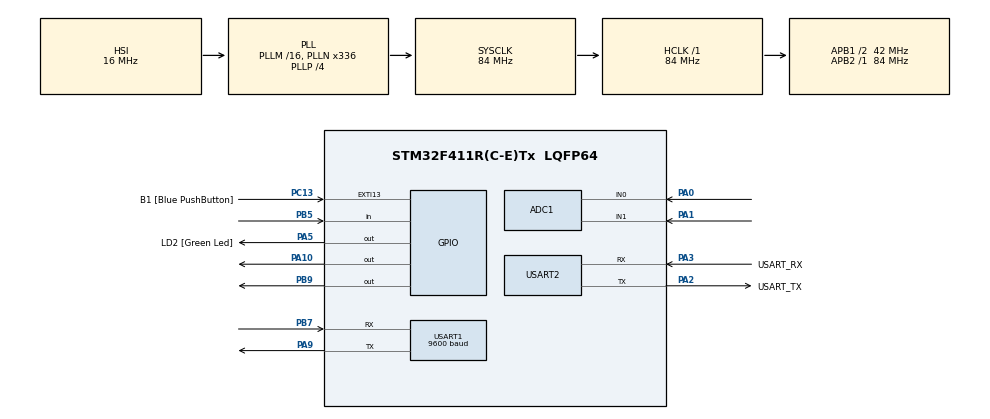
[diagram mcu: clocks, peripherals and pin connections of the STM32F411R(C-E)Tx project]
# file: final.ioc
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ADC1.Channel-3\#ChannelRegularConversion=ADC_CHANNEL_0
ADC1.Channel-4\#ChannelRegularConversion=ADC_CHANNEL_1
ADC1.NbrOfConversion=2
ADC1.NbrOfConversionFlag=1
ADC1.Rank-3\#ChannelRegularConversion=1
ADC1.Rank-4\#ChannelRegularConversion=2
ADC1.SamplingTime-3\#ChannelRegularConversion=ADC_SAMPLETIME_3CYCLES
ADC1.SamplingTime-4\#ChannelRegularConversion=ADC_SAMPLETIME_3CYCLES
ADC1.master=1
Mcu.Family=STM32F4
Mcu.Name=STM32F411R(C-E)Tx
Mcu.Package=LQFP64
NVIC.PriorityGroup=NVIC_PRIORITYGROUP_0
NVIC.USART1_IRQn=true\:0\:0\:false\:false\:true\:true\:true\:true
NVIC.USART2_IRQn=true\:0\:0\:false\:false\:true\:true\:true\:true
PA0-WKUP.Signal=ADCx_IN0
PA1.Signal=ADCx_IN1
PA10.Signal=GPIO_Output
PA13.GPIO_Label=TMS
PA13.Mode=Serial_Wire
PA13.Signal=SYS_JTMS-SWDIO
PA14.GPIO_Label=TCK
PA14.Mode=Serial_Wire
PA14.Signal=SYS_JTCK-SWCLK
PA2.GPIO_Label=USART_TX
PA2.Mode=Asynchronous
PA2.Signal=USART2_TX
PA3.GPIO_Label=USART_RX
PA3.Mode=Asynchronous
PA3.Signal=USART2_RX
PA5.GPIO_Label=LD2 [Green Led]
PA5.Signal=GPIO_Output
PA9.Mode=Asynchronous
PA9.Signal=USART1_TX
PB3.GPIO_Label=SWO
PB3.Signal=SYS_JTDO-SWO
PB5.Signal=GPIO_Input
PB7.Mode=Asynchronous
PB7.Signal=USART1_RX
PB9.Signal=GPIO_Output
PC13-ANTI_TAMP.GPIO_Label=B1 [Blue PushButton]
PC13-ANTI_TAMP.GPIO_ModeDefaultEXTI=GPIO_MODE_IT_FALLING
PC13-ANTI_TAMP.Signal=GPXTI13
PC14-OSC32_IN.Mode=LSE-External-Oscillator
PC14-OSC32_IN.Signal=RCC_OSC32_IN
PC15-OSC32_OUT.Mode=LSE-External-Oscillator
PC15-OSC32_OUT.Signal=RCC_OSC32_OUT
PH0\ -\ OSC_IN.Mode=HSE-External-Clock-Source
PH0\ -\ OSC_IN.Signal=RCC_OSC_IN
PH1\ -\ OSC_OUT.Mode=HSE-External-Clock-Source
PH1\ -\ OSC_OUT.Signal=RCC_OSC_OUT
ProjectManager.HeapSize=0x200
ProjectManager.StackSize=0x400
ProjectManager.TargetToolchain=STM32CubeIDE
RCC.48MHZClocksFreq_Value=84000000
RCC.AHBFreq_Value=84000000
RCC.APB1CLKDivider=RCC_HCLK_DIV2
RCC.APB1Freq_Value=42000000
RCC.APB1TimFreq_Value=84000000
RCC.APB2Freq_Value=84000000
RCC.APB2TimFreq_Value=84000000
RCC.CortexFreq_Value=84000000
RCC.FLatency-AdvancedSettings=FLASH_LATENCY_2
RCC.HCLKFreq_Value=84000000
RCC.HSE_VALUE=8000000
RCC.HSI_VALUE=16000000
RCC.PLLN=336
RCC.PLLP=RCC_PLLP_DIV4
RCC.SYSCLKFreq_VALUE=84000000
RCC.SYSCLKSource=RCC_SYSCLKSOURCE_PLLCLK
RCC.VCOOutputFreq_Value=336000000
SH.ADCx_IN0.0=ADC1_IN0,IN0
SH.ADCx_IN1.0=ADC1_IN1,IN1
TIM1.Prescaler=71
USART1.BaudRate=9600
USART1.VirtualMode=VM_ASYNC
USART2.VirtualMode=VM_ASYNC
VP_TIM1_VS_ClockSourceINT.Mode=Internal
board=NUCLEO-F411RE

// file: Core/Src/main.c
/* USER CODE BEGIN Header */
/**
  ******************************************************************************
  * @file           : main.c
  * @brief          : Main program body
  ******************************************************************************
  * @attention
  *
  * Copyright (c) 2023 STMicroelectronics.
  * All rights reserved.
  *
  * This software is licensed under terms that can be found in the LICENSE file
  * in the root directory of this software component.
  * If no LICENSE file comes with this software, it is provided AS-IS.
  *
  ******************************************************************************
  */
/* USER CODE END Header */
#include "main.h"

ADC_HandleTypeDef hadc1;

TIM_HandleTypeDef htim1;

UART_HandleTypeDef huart1;
UART_HandleTypeDef huart2;

void SystemClock_Config(void);
static void MX_GPIO_Init(void);
static void MX_USART2_UART_Init(void);
static void MX_ADC1_Init(void);
static void MX_TIM1_Init(void);
static void MX_USART1_UART_Init(void);

/* USER CODE BEGIN 0 */
int dust, light, temp, humid;
uint8_t text;
void HAL_UART_RxCpltCallback(UART_HandleTypeDef *huart) {
    if (huart->Instance == USART1) {
	      HAL_UART_Transmit(&huart1, &dust, sizeof(dust), 1000);
	      HAL_UART_Transmit(&huart1, &light, sizeof(light), 1000);
	      HAL_UART_Transmit(&huart1, &temp, sizeof(temp), 1000);
	      HAL_UART_Transmit(&huart1, &humid, sizeof(humid), 1000);
	      HAL_UART_Receive_IT(&huart1, &text, 1);
    }
}

void delay (uint16_t time)
{
	/* change your code here for the delay in microseconds */
	__HAL_TIM_SET_COUNTER(&htim1, 0);
	while ((__HAL_TIM_GET_COUNTER(&htim1))<time);
}
uint8_t Rh_byte1, Rh_byte2, Temp_byte1, Temp_byte2;
uint16_t SUM, RH, TEMP;

float Temperature = 0;
float Humidity = 0;
uint8_t Presence = 0;

void Set_Pin_Output (GPIO_TypeDef *GPIOx, uint16_t GPIO_Pin)
{
	GPIO_InitTypeDef GPIO_InitStruct = {0};
	GPIO_InitStruct.Pin = GPIO_Pin;
	GPIO_InitStruct.Mode = GPIO_MODE_OUTPUT_PP;
	GPIO_InitStruct.Speed = GPIO_SPEED_FREQ_LOW;
	HAL_GPIO_Init(GPIOx, &GPIO_InitStruct);
}

void Set_Pin_Input (GPIO_TypeDef *GPIOx, uint16_t GPIO_Pin)
{
	GPIO_InitTypeDef GPIO_InitStruct = {0};
	GPIO_InitStruct.Pin = GPIO_Pin;
	GPIO_InitStruct.Mode = GPIO_MODE_INPUT;
	GPIO_InitStruct.Pull = GPIO_PULLUP;
	HAL_GPIO_Init(GPIOx, &GPIO_InitStruct);
}

#define DHT11_PORT GPIOB
#define DHT11_PIN GPIO_PIN_9

void DHT11_Start()
	{
		Set_Pin_Output (DHT11_PORT, DHT11_PIN);  // set the pin as output
		HAL_GPIO_WritePin (DHT11_PORT, DHT11_PIN, 0);   // pull the pin low
		delay(18000);   // wait for 18ms
		Set_Pin_Input(DHT11_PORT, DHT11_PIN);    // set as input
	}

uint8_t DHT11_Check_Response()
	{
		uint8_t Response = 0;
		long start = HAL_GetTick();
		delay (40);
		if (!(HAL_GPIO_ReadPin (DHT11_PORT, DHT11_PIN)))
		{
			delay (80);
			if ((HAL_GPIO_ReadPin (DHT11_PORT, DHT11_PIN))){
				Response = 1;
			}
		}
		else{
			Response = -1;
		}
		while ((HAL_GPIO_ReadPin (DHT11_PORT, DHT11_PIN))){
//			  // wait for the pin to go low
			if(HAL_GetTick()-start > 1000) NVIC_SystemReset();
		}

		return Response;
	}

uint8_t DHT11_Read(){

		long start = HAL_GetTick();
		uint8_t i,j;
		for (j=0;j<8;j++)
		{

			while (!(HAL_GPIO_ReadPin (DHT11_PORT, DHT11_PIN))){
				if(HAL_GetTick()-start > 1000) NVIC_SystemReset();
			}
//			delay(400);// wait for the pin to go high
			delay (40);   // wait for 40 us
			if (!(HAL_GPIO_ReadPin (DHT11_PORT, DHT11_PIN)))   // if the pin is low
			{
				i&= ~(1<<(7-j));   // write 0
			}
			else i|= (1<<(7-j));  // if the pin is high, write 1
			while ((HAL_GPIO_ReadPin (DHT11_PORT, DHT11_PIN))){
				if(HAL_GetTick()-start > 1000) NVIC_SystemReset();
			};  // wait for the pin to go low
//			delay(400);
		}

		return i;}

struct DHT11Result {
	int temp;
	int humid;
};

struct DHT11Result DHT11_Run(){

	  HAL_GPIO_WritePin(GPIOA, LD2_Pin, RESET);
	  DHT11_Start();
	  Presence = DHT11_Check_Response();

	  Rh_byte1 = DHT11_Read();
	  Rh_byte2 = DHT11_Read();
	  Temp_byte1 = DHT11_Read();
	  Temp_byte2 = DHT11_Read();
	  SUM = DHT11_Read();

	  TEMP = Temp_byte1;
	  RH = Rh_byte1;
	  struct DHT11Result res;
	  res.temp = TEMP;
	  res.humid = RH;

	  HAL_GPIO_WritePin(GPIOA, LD2_Pin, SET);
	  return res;
}

void ADC_Select_CH0()
{
	ADC_ChannelConfTypeDef sConfig = {0};
	  /** Configure for the selected ADC regular channel its corresponding rank in the sequencer and its sample time.
	  */
	  sConfig.Channel = ADC_CHANNEL_0;
	  sConfig.Rank = 1;
	  sConfig.SamplingTime = ADC_SAMPLETIME_28CYCLES;
	  if (HAL_ADC_ConfigChannel(&hadc1, &sConfig) != HAL_OK)
	  {
	    Error_Handler();
	  }
}

void ADC_Select_CH1()
{
	ADC_ChannelConfTypeDef sConfig = {0};
	  /** Configure for the selected ADC regular channel its corresponding rank in the sequencer and its sample time.
	  */
	  sConfig.Channel = ADC_CHANNEL_1;
	  sConfig.Rank = 1;
	  sConfig.SamplingTime = ADC_SAMPLETIME_84CYCLES;
	  if (HAL_ADC_ConfigChannel(&hadc1, &sConfig) != HAL_OK)
	  {
	    Error_Handler();
	  }
}

/* USER CODE END 0 */

int main(void)
{

  /* MCU Configuration--------------------------------------------------------*/

  /* Reset of all peripherals, Initializes the Flash interface and the Systick. */
  HAL_Init();

  /* Configure the system clock */
  SystemClock_Config();

  /* Initialize all configured peripherals */
  MX_GPIO_Init();
  MX_USART2_UART_Init();
  MX_ADC1_Init();
  MX_TIM1_Init();
  MX_USART1_UART_Init();
  /* USER CODE BEGIN 2 */
//  HAL_UART_Receive_IT(&huart1, &text, sizeof(text));
//  HAL_UART_Transmit(&huart2, &text, sizeof(text), 100);
  HAL_UART_Receive_IT(&huart1, &text, 1);
  int round = 0;
  int raw = 0;
  int last = HAL_GetTick();
  int dustAcc = 0;
  int tempAcc = 0;
  int lightAcc = 0;
  int count = 0;

  uint8_t tempC[20];
  HAL_TIM_Base_Start(&htim1);

  int MIN_LIGHT = 100;
  int MAX_LIGHT = 3000;
  int lightLevel = 0;
  int dustLevel = 0;

  struct DHT11Result result = DHT11_Run();
  TEMP = result.temp;
  /* USER CODE END 2 */

  /* Infinite loop */
  while (1)
  {

    /* USER CODE BEGIN 3 */
	  int now = HAL_GetTick();

	  tempAcc += TEMP;

	  ADC_Select_CH0();
	  HAL_ADC_Start(&hadc1);
	  if(HAL_ADC_PollForConversion(&hadc1,1000) == HAL_OK)
	  {
		  dustLevel = HAL_ADC_GetValue(&hadc1);
		  dustAcc += dustLevel;
	  }

	  //LDR
	  int adcval = 0;
	  ADC_Select_CH1();
	  HAL_ADC_Start(&hadc1);
	  if(HAL_ADC_PollForConversion(&hadc1,1000) == HAL_OK){
			  adcval = HAL_ADC_GetValue(&hadc1);
			  float C = MAX_LIGHT - adcval;
			  float P = MAX_LIGHT - MIN_LIGHT;
			  lightLevel = 100*(1-(C/P));
			  if(lightLevel < 0) lightLevel = 0;
			  if(lightLevel > 100) lightLevel = 100;
			  lightAcc += lightLevel;
	  }

	  count++;
	  if (now - last >= 5000) {
		  struct DHT11Result result = DHT11_Run();
		  dust = (int) (dustAcc/count*0.7*0.75);
		  light = lightAcc/count;
		  temp = result.temp;
		  humid = result.humid;

		  uint8_t x[100];
		  memset(x,0,100);
		  sprintf(x,"Dust = %d, Light = %d, Temp = %d, Humid = %d (%d)", dust, light, temp, humid,now);
	      HAL_UART_Transmit(&huart2, &x, sizeof(x), 100);
	      HAL_UART_Transmit(&huart2, "\r\n", 5, 1);
	      dustAcc = 0;
	      lightAcc = 0;
	      tempAcc = 0;
	      count = 0;
	      last = now;
	  }
  }
  /* USER CODE END 3 */
}

void SystemClock_Config(void)
{
  RCC_OscInitTypeDef RCC_OscInitStruct = {0};
  RCC_ClkInitTypeDef RCC_ClkInitStruct = {0};

  /** Configure the main internal regulator output voltage
  */
  __HAL_RCC_PWR_CLK_ENABLE();
  __HAL_PWR_VOLTAGESCALING_CONFIG(PWR_REGULATOR_VOLTAGE_SCALE1);

  /** Initializes the RCC Oscillators according to the specified parameters
  * in the RCC_OscInitTypeDef structure.
  */
  RCC_OscInitStruct.OscillatorType = RCC_OSCILLATORTYPE_HSI;
  RCC_OscInitStruct.HSIState = RCC_HSI_ON;
  RCC_OscInitStruct.HSICalibrationValue = RCC_HSICALIBRATION_DEFAULT;
  RCC_OscInitStruct.PLL.PLLState = RCC_PLL_ON;
  RCC_OscInitStruct.PLL.PLLSource = RCC_PLLSOURCE_HSI;
  RCC_OscInitStruct.PLL.PLLM = 16;
  RCC_OscInitStruct.PLL.PLLN = 336;
  RCC_OscInitStruct.PLL.PLLP = RCC_PLLP_DIV4;
  RCC_OscInitStruct.PLL.PLLQ = 4;
  if (HAL_RCC_OscConfig(&RCC_OscInitStruct) != HAL_OK)
  {
    Error_Handler();
  }

  /** Initializes the CPU, AHB and APB buses clocks
  */
  RCC_ClkInitStruct.ClockType = RCC_CLOCKTYPE_HCLK|RCC_CLOCKTYPE_SYSCLK
                              |RCC_CLOCKTYPE_PCLK1|RCC_CLOCKTYPE_PCLK2;
  RCC_ClkInitStruct.SYSCLKSource = RCC_SYSCLKSOURCE_PLLCLK;
  RCC_ClkInitStruct.AHBCLKDivider = RCC_SYSCLK_DIV1;
  RCC_ClkInitStruct.APB1CLKDivider = RCC_HCLK_DIV2;
  RCC_ClkInitStruct.APB2CLKDivider = RCC_HCLK_DIV1;

  if (HAL_RCC_ClockConfig(&RCC_ClkInitStruct, FLASH_LATENCY_2) != HAL_OK)
  {
    Error_Handler();
  }
}

static void MX_ADC1_Init(void)
{

  ADC_ChannelConfTypeDef sConfig = {0};

  /** Configure the global features of the ADC (Clock, Resolution, Data Alignment and number of conversion)
  */
  hadc1.Instance = ADC1;
  hadc1.Init.ClockPrescaler = ADC_CLOCK_SYNC_PCLK_DIV4;
  hadc1.Init.Resolution = ADC_RESOLUTION_12B;
  hadc1.Init.ScanConvMode = ENABLE;
  hadc1.Init.ContinuousConvMode = DISABLE;
  hadc1.Init.DiscontinuousConvMode = DISABLE;
  hadc1.Init.ExternalTrigConvEdge = ADC_EXTERNALTRIGCONVEDGE_NONE;
  hadc1.Init.ExternalTrigConv = ADC_SOFTWARE_START;
  hadc1.Init.DataAlign = ADC_DATAALIGN_RIGHT;
  hadc1.Init.NbrOfConversion = 2;
  hadc1.Init.DMAContinuousRequests = DISABLE;
  hadc1.Init.EOCSelection = ADC_EOC_SINGLE_CONV;
  if (HAL_ADC_Init(&hadc1) != HAL_OK)
  {
    Error_Handler();
  }

  /** Configure for the selected ADC regular channel its corresponding rank in the sequencer and its sample time.
  */
  sConfig.Channel = ADC_CHANNEL_0;
  sConfig.Rank = 1;
  sConfig.SamplingTime = ADC_SAMPLETIME_3CYCLES;
  if (HAL_ADC_ConfigChannel(&hadc1, &sConfig) != HAL_OK)
  {
    Error_Handler();
  }

  /** Configure for the selected ADC regular channel its corresponding rank in the sequencer and its sample time.
  */
  sConfig.Channel = ADC_CHANNEL_1;
  sConfig.Rank = 2;
  if (HAL_ADC_ConfigChannel(&hadc1, &sConfig) != HAL_OK)
  {
    Error_Handler();
  }

}

static void MX_TIM1_Init(void)
{

  TIM_ClockConfigTypeDef sClockSourceConfig = {0};
  TIM_MasterConfigTypeDef sMasterConfig = {0};

  htim1.Instance = TIM1;
  htim1.Init.Prescaler = 71;
  htim1.Init.CounterMode = TIM_COUNTERMODE_UP;
  htim1.Init.Period = 65535;
  htim1.Init.ClockDivision = TIM_CLOCKDIVISION_DIV1;
  htim1.Init.RepetitionCounter = 0;
  htim1.Init.AutoReloadPreload = TIM_AUTORELOAD_PRELOAD_DISABLE;
  if (HAL_TIM_Base_Init(&htim1) != HAL_OK)
  {
    Error_Handler();
  }
  sClockSourceConfig.ClockSource = TIM_CLOCKSOURCE_INTERNAL;
  if (HAL_TIM_ConfigClockSource(&htim1, &sClockSourceConfig) != HAL_OK)
  {
    Error_Handler();
  }
  sMasterConfig.MasterOutputTrigger = TIM_TRGO_RESET;
  sMasterConfig.MasterSlaveMode = TIM_MASTERSLAVEMODE_DISABLE;
  if (HAL_TIMEx_MasterConfigSynchronization(&htim1, &sMasterConfig) != HAL_OK)
  {
    Error_Handler();
  }

}

static void MX_USART1_UART_Init(void)
{

  huart1.Instance = USART1;
  huart1.Init.BaudRate = 9600;
  huart1.Init.WordLength = UART_WORDLENGTH_8B;
  huart1.Init.StopBits = UART_STOPBITS_1;
  huart1.Init.Parity = UART_PARITY_NONE;
  huart1.Init.Mode = UART_MODE_TX_RX;
  huart1.Init.HwFlowCtl = UART_HWCONTROL_NONE;
  huart1.Init.OverSampling = UART_OVERSAMPLING_16;
  if (HAL_UART_Init(&huart1) != HAL_OK)
  {
    Error_Handler();
  }

}

static void MX_USART2_UART_Init(void)
{

  huart2.Instance = USART2;
  huart2.Init.BaudRate = 115200;
  huart2.Init.WordLength = UART_WORDLENGTH_8B;
  huart2.Init.StopBits = UART_STOPBITS_1;
  huart2.Init.Parity = UART_PARITY_NONE;
  huart2.Init.Mode = UART_MODE_TX_RX;
  huart2.Init.HwFlowCtl = UART_HWCONTROL_NONE;
  huart2.Init.OverSampling = UART_OVERSAMPLING_16;
  if (HAL_UART_Init(&huart2) != HAL_OK)
  {
    Error_Handler();
  }

}

static void MX_GPIO_Init(void)
{
  GPIO_InitTypeDef GPIO_InitStruct = {0};

  /* GPIO Ports Clock Enable */
  __HAL_RCC_GPIOC_CLK_ENABLE();
  __HAL_RCC_GPIOH_CLK_ENABLE();
  __HAL_RCC_GPIOA_CLK_ENABLE();
  __HAL_RCC_GPIOB_CLK_ENABLE();

  /*Configure GPIO pin Output Level */
  HAL_GPIO_WritePin(GPIOA, LD2_Pin|GPIO_PIN_10, GPIO_PIN_RESET);

  /*Configure GPIO pin Output Level */
  HAL_GPIO_WritePin(GPIOB, GPIO_PIN_9, GPIO_PIN_RESET);

  /*Configure GPIO pin : B1_Pin */
  GPIO_InitStruct.Pin = B1_Pin;
  GPIO_InitStruct.Mode = GPIO_MODE_IT_FALLING;
  GPIO_InitStruct.Pull = GPIO_NOPULL;
  HAL_GPIO_Init(B1_GPIO_Port, &GPIO_InitStruct);

  /*Configure GPIO pins : LD2_Pin PA10 */
  GPIO_InitStruct.Pin = LD2_Pin|GPIO_PIN_10;
  GPIO_InitStruct.Mode = GPIO_MODE_OUTPUT_PP;
  GPIO_InitStruct.Pull = GPIO_NOPULL;
  GPIO_InitStruct.Speed = GPIO_SPEED_FREQ_LOW;
  HAL_GPIO_Init(GPIOA, &GPIO_InitStruct);

  /*Configure GPIO pin : PB5 */
  GPIO_InitStruct.Pin = GPIO_PIN_5;
  GPIO_InitStruct.Mode = GPIO_MODE_INPUT;
  GPIO_InitStruct.Pull = GPIO_NOPULL;
  HAL_GPIO_Init(GPIOB, &GPIO_InitStruct);

  /*Configure GPIO pin : PB9 */
  GPIO_InitStruct.Pin = GPIO_PIN_9;
  GPIO_InitStruct.Mode = GPIO_MODE_OUTPUT_PP;
  GPIO_InitStruct.Pull = GPIO_NOPULL;
  GPIO_InitStruct.Speed = GPIO_SPEED_FREQ_LOW;
  HAL_GPIO_Init(GPIOB, &GPIO_InitStruct);

}

void Error_Handler(void)
{
  __disable_irq();
  while (1)
  {
  }
}
